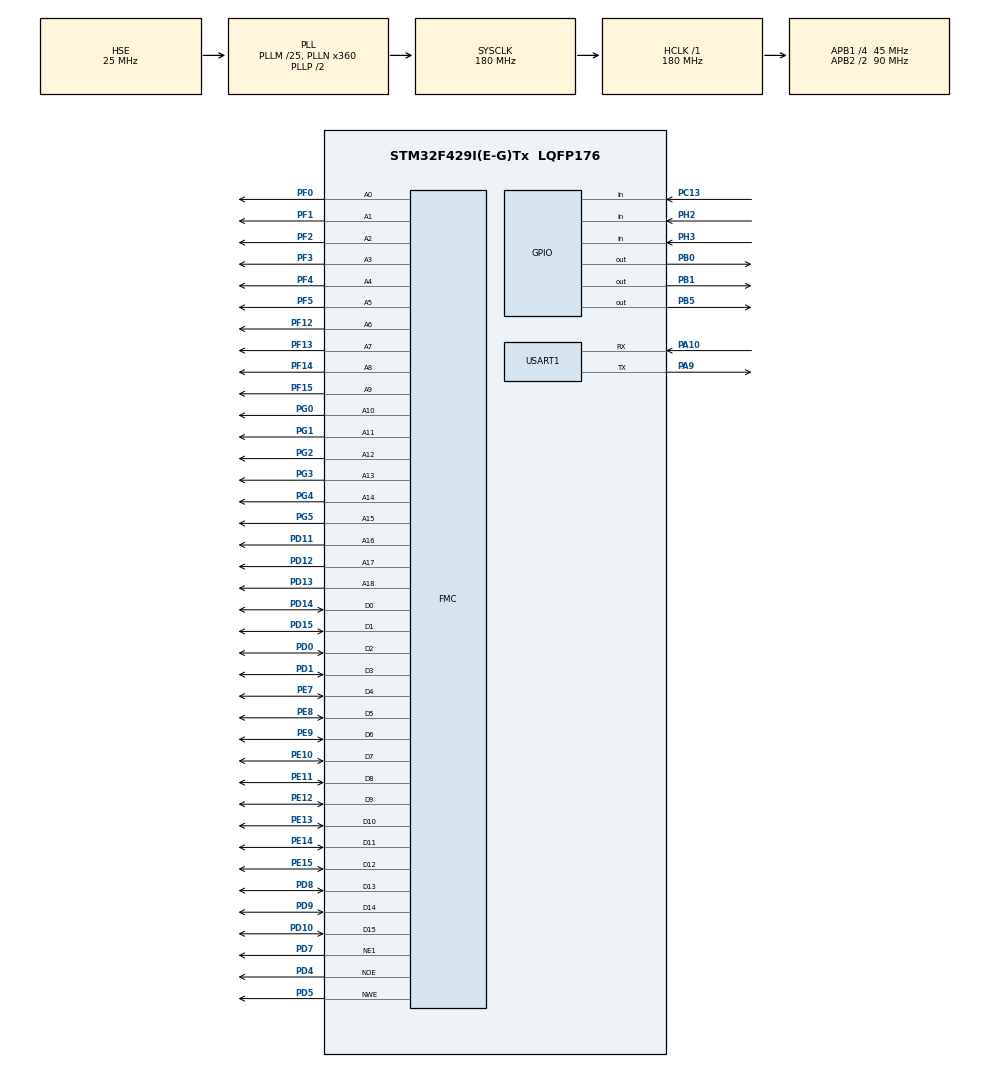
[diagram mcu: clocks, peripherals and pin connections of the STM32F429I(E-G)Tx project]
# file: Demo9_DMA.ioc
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Dma.Request0=USART1_TX
Dma.USART1_TX.0.Direction=DMA_MEMORY_TO_PERIPH
Dma.USART1_TX.0.FIFOMode=DMA_FIFOMODE_DISABLE
Dma.USART1_TX.0.Instance=DMA2_Stream7
Dma.USART1_TX.0.MemDataAlignment=DMA_MDATAALIGN_BYTE
Dma.USART1_TX.0.MemInc=DMA_MINC_ENABLE
Dma.USART1_TX.0.Mode=DMA_NORMAL
Dma.USART1_TX.0.PeriphDataAlignment=DMA_PDATAALIGN_BYTE
Dma.USART1_TX.0.PeriphInc=DMA_PINC_DISABLE
Dma.USART1_TX.0.Priority=DMA_PRIORITY_LOW
FMC.BusTurnAroundDuration1=8
FMC.DataSetupTime1=9
FMC.ExtendedAddressSetupTime1=3
FMC.ExtendedBusTurnAroundDuration1=1
FMC.ExtendedDataSetupTime1=3
FMC.ExtendedMode1=FMC_EXTENDED_MODE_ENABLE
FMC.WriteOperation1=FMC_WRITE_OPERATION_ENABLE
Mcu.Family=STM32F4
Mcu.Name=STM32F429I(E-G)Tx
Mcu.Package=LQFP176
NVIC.PriorityGroup=NVIC_PRIORITYGROUP_4
PA10.GPIO_PuPd=GPIO_PULLUP
PA10.Mode=Asynchronous
PA10.Signal=USART1_RX
PA9.GPIO_PuPd=GPIO_PULLUP
PA9.Mode=Asynchronous
PA9.Signal=USART1_TX
PB0.GPIO_Speed=GPIO_SPEED_FREQ_LOW
PB0.PinState=GPIO_PIN_SET
PB0.Signal=GPIO_Output
PB1.GPIO_Speed=GPIO_SPEED_FREQ_LOW
PB1.PinState=GPIO_PIN_SET
PB1.Signal=GPIO_Output
PB5.GPIO_Speed=GPIO_SPEED_FREQ_LOW
PB5.PinState=GPIO_PIN_SET
PB5.Signal=GPIO_Output
PC13.GPIO_PuPd=GPIO_PULLUP
PC13.Signal=GPIO_Input
PD0.Signal=FMC_D2_DA2
PD1.Signal=FMC_D3_DA3
PD10.Signal=FMC_D15_DA15
PD11.Signal=FMC_A16_CLE
PD12.Signal=FMC_A17_ALE
PD13.Signal=FMC_A18
PD14.Signal=FMC_D0_DA0
PD15.Signal=FMC_D1_DA1
PD4.Signal=FMC_NOE
PD5.Signal=FMC_NWE
PD7.Mode=NorPsramChipSelect1_1
PD7.Signal=FMC_NE1
PD8.Signal=FMC_D13_DA13
PD9.Signal=FMC_D14_DA14
PE10.Signal=FMC_D7_DA7
PE11.Signal=FMC_D8_DA8
PE12.Signal=FMC_D9_DA9
PE13.Signal=FMC_D10_DA10
PE14.Signal=FMC_D11_DA11
PE15.Signal=FMC_D12_DA12
PE7.Signal=FMC_D4_DA4
PE8.Signal=FMC_D5_DA5
PE9.Signal=FMC_D6_DA6
PF0.Signal=FMC_A0
PF1.Signal=FMC_A1
PF12.Signal=FMC_A6
PF13.Signal=FMC_A7
PF14.Signal=FMC_A8
PF15.Signal=FMC_A9
PF2.Signal=FMC_A2
PF3.Signal=FMC_A3
PF4.Signal=FMC_A4
PF5.Signal=FMC_A5
PG0.Signal=FMC_A10
PG1.Signal=FMC_A11
PG2.Signal=FMC_A12
PG3.Signal=FMC_A13
PG4.Signal=FMC_A14_BA0
PG5.Signal=FMC_A15_BA1
PH0/OSC_IN.Mode=HSE-External-Oscillator
PH0/OSC_IN.Signal=RCC_OSC_IN
PH1/OSC_OUT.Mode=HSE-External-Oscillator
PH1/OSC_OUT.Signal=RCC_OSC_OUT
PH2.GPIO_PuPd=GPIO_PULLUP
PH2.Signal=GPIO_Input
PH3.GPIO_PuPd=GPIO_PULLUP
PH3.Signal=GPIO_Input
ProjectManager.HeapSize=0x200
ProjectManager.StackSize=0x400
ProjectManager.TargetToolchain=MDK-ARM V5
RCC.48MHZClocksFreq_Value=90000000
RCC.AHBFreq_Value=180000000
RCC.APB1CLKDivider=RCC_HCLK_DIV4
RCC.APB1Freq_Value=45000000
RCC.APB1TimFreq_Value=90000000
RCC.APB2CLKDivider=RCC_HCLK_DIV2
RCC.APB2Freq_Value=90000000
RCC.APB2TimFreq_Value=180000000
RCC.CortexFreq_Value=180000000
RCC.HCLKFreq_Value=180000000
RCC.HSE_VALUE=25000000
RCC.HSI_VALUE=16000000
RCC.LSE_VALUE=32768
RCC.PLLM=25
RCC.PLLN=360
RCC.PLLSourceVirtual=RCC_PLLSOURCE_HSE
RCC.SYSCLKFreq_VALUE=180000000
RCC.SYSCLKSource=RCC_SYSCLKSOURCE_PLLCLK
RCC.VCOOutputFreq_Value=360000000
SH.FMC_A0.0=FMC_A0,19b-a1
SH.FMC_A1.0=FMC_A1,19b-a1
SH.FMC_A10.0=FMC_A10,19b-a1
SH.FMC_A11.0=FMC_A11,19b-a1
SH.FMC_A12.0=FMC_A12,19b-a1
SH.FMC_A13.0=FMC_A13,19b-a1
SH.FMC_A14_BA0.0=FMC_A14,19b-a1
SH.FMC_A15_BA1.0=FMC_A15,19b-a1
SH.FMC_A16_CLE.0=FMC_A16,19b-a1
SH.FMC_A17_ALE.0=FMC_A17,19b-a1
SH.FMC_A18.0=FMC_A18,19b-a1
SH.FMC_A2.0=FMC_A2,19b-a1
SH.FMC_A3.0=FMC_A3,19b-a1
SH.FMC_A4.0=FMC_A4,19b-a1
SH.FMC_A5.0=FMC_A5,19b-a1
SH.FMC_A6.0=FMC_A6,19b-a1
SH.FMC_A7.0=FMC_A7,19b-a1
SH.FMC_A8.0=FMC_A8,19b-a1
SH.FMC_A9.0=FMC_A9,19b-a1
SH.FMC_D0_DA0.0=FMC_D0,16b-d1
SH.FMC_D10_DA10.0=FMC_D10,16b-d1
SH.FMC_D11_DA11.0=FMC_D11,16b-d1
SH.FMC_D12_DA12.0=FMC_D12,16b-d1
SH.FMC_D13_DA13.0=FMC_D13,16b-d1
SH.FMC_D14_DA14.0=FMC_D14,16b-d1
SH.FMC_D15_DA15.0=FMC_D15,16b-d1
SH.FMC_D1_DA1.0=FMC_D1,16b-d1
SH.FMC_D2_DA2.0=FMC_D2,16b-d1
SH.FMC_D3_DA3.0=FMC_D3,16b-d1
SH.FMC_D4_DA4.0=FMC_D4,16b-d1
SH.FMC_D5_DA5.0=FMC_D5,16b-d1
SH.FMC_D6_DA6.0=FMC_D6,16b-d1
SH.FMC_D7_DA7.0=FMC_D7,16b-d1
SH.FMC_D8_DA8.0=FMC_D8,16b-d1
SH.FMC_D9_DA9.0=FMC_D9,16b-d1
SH.FMC_NOE.0=FMC_NOE,Sram1
SH.FMC_NWE.0=FMC_NWE,Sram1
USART1.VirtualMode=VM_ASYNC
board=custom

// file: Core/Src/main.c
/* USER CODE BEGIN Header */
/**
  ******************************************************************************
  * @file           : main.c
  * @brief          : Main program body
  ******************************************************************************
  * @attention
  *
  * <h2><center>&copy; Copyright (c) 2021 STMicroelectronics.
  * All rights reserved.</center></h2>
  *
  * This software component is licensed by ST under BSD 3-Clause license,
  * the "License"; You may not use this file except in compliance with the
  * License. You may obtain a copy of the License at:
  *                        opensource.org/licenses/BSD-3-Clause
  *
  ******************************************************************************
  */
/* USER CODE END Header */
#include "main.h"

/* USER CODE BEGIN Includes */

#include "sys.h"
#include "key.h"
#include "lcd.h"
#include "dma.h"

/* USER CODE END Includes */

UART_HandleTypeDef huart1;
DMA_HandleTypeDef hdma_usart1_tx;

SRAM_HandleTypeDef hsram1;

void SystemClock_Config(void);
static void MX_GPIO_Init(void);
static void MX_DMA_Init(void);
static void MX_USART1_UART_Init(void);
static void MX_FMC_Init(void);

/* USER CODE BEGIN 0 */

#define LENGTH 8000
static uint8_t testTxDma[LENGTH] = {0}; //因为数组过长，所以放置在此处

/* USER CODE END 0 */

int main(void)
{
    /* USER CODE BEGIN 1 */
    uint32_t i = 0;
    uint32_t j = 0;

    uint32_t timer = 0;
    uint32_t timerLed = 0;
    uint32_t timerKey = 0;

    uint8_t keyFalling = 0;

    const LcdCoordinate focusTips = {64, 0};
    const LcdCoordinate focusPercent = {80, 0};

    const uint8_t *temp = "hello, word!\n";

    DmaType flagDma = DMA_NONE;
    /* USER CODE END 1 */

    /* MCU Configuration--------------------------------------------------------*/

    /* Reset of all peripherals, Initializes the Flash interface and the Systick. */
    HAL_Init();

    /* Configure the system clock */
    SystemClock_Config();

    /* Initialize all configured peripherals */
    MX_GPIO_Init();
    MX_DMA_Init();
    MX_USART1_UART_Init();
    MX_FMC_Init();
    /* USER CODE BEGIN 2 */

    /* init */
    LcdInit();
    DmaLinkUsart1Tx();

    /* copy data to dma */
    for (i = 0; i < LENGTH; i++)
    {
        if (temp[j] == 0)
        {
            j = 0;
        }
        testTxDma[i] = temp[j];
        j++;
    }

    /* lcd show tips */
    LcdSetColor(LCD_RED, LCD_WHITE);
    LcdShowString("Demo9 DMA\n");
    LcdShowString("Zhen Haiyang\n");
    LcdShowString("2021/05/27\n");
    LcdShowString("--KEY0:Start--\n");
    LcdSetColor(LCD_BLUE, LCD_WHITE);

    /* USER CODE END 2 */

    /* Infinite loop */
    /* USER CODE BEGIN WHILE */
    while (1)
    {
        timer = HAL_GetTick(); //millisecond timer

        /* Key */
        keyFalling = 0;
        if (timer - timerKey > 20)
        {
            timerKey = timer;
            KeyScan();
            keyFalling = KeyGetEdgeActive();
        }

        /* usart */
        if (keyFalling & KEY_0) //key0按下
        {
            DmaStart((uint32_t)&testTxDma, LENGTH);
            flagDma = DMA_ONGOING;
        }
        if (DMA2->HISR & DMA_HISR_TCIF7) //传输完成
        {
            flagDma = DMA_FINISH;
            DMA2->HIFCR |= DMA_HIFCR_CTCIF7;
        }

        /* lcd */
        if (flagDma == DMA_FINISH)
        {
            flagDma = DMA_NONE;
            LcdSetFocus(focusTips);
            LcdShowString("Trassmit Finish!");
            LcdSetFocus(focusPercent);
            LcdShowNumber(100, 3);
            LcdShowString("%");
        }
        else if (flagDma == DMA_ONGOING)
        {
            uint16_t temp = LENGTH - DMA2_Stream7->NDTR;
            temp = temp * 100 / LENGTH;
            LcdSetFocus(focusTips);
            LcdShowString("Trassmiting...  ");
            LcdSetFocus(focusPercent);
            LcdShowNumber(temp, 3);
            LcdShowString("%");
        }

        /* LED */
        if (timer - timerLed > 500)
        {
            timerLed = timer;
            set_led_0 = !set_led_0;
        }
        if (keyFalling & KEY_1)
        {
            set_led_1 = !set_led_1;
            USART1->DR = '0';
        }

        /* USER CODE END WHILE */

    }
}

void SystemClock_Config(void)
{
    RCC_OscInitTypeDef RCC_OscInitStruct = {0};
    RCC_ClkInitTypeDef RCC_ClkInitStruct = {0};

    /** Configure the main internal regulator output voltage
  */
    __HAL_RCC_PWR_CLK_ENABLE();
    __HAL_PWR_VOLTAGESCALING_CONFIG(PWR_REGULATOR_VOLTAGE_SCALE1);
    /** Initializes the RCC Oscillators according to the specified parameters
  * in the RCC_OscInitTypeDef structure.
  */
    RCC_OscInitStruct.OscillatorType = RCC_OSCILLATORTYPE_HSE;
    RCC_OscInitStruct.HSEState = RCC_HSE_ON;
    RCC_OscInitStruct.PLL.PLLState = RCC_PLL_ON;
    RCC_OscInitStruct.PLL.PLLSource = RCC_PLLSOURCE_HSE;
    RCC_OscInitStruct.PLL.PLLM = 25;
    RCC_OscInitStruct.PLL.PLLN = 360;
    RCC_OscInitStruct.PLL.PLLP = RCC_PLLP_DIV2;
    RCC_OscInitStruct.PLL.PLLQ = 4;
    if (HAL_RCC_OscConfig(&RCC_OscInitStruct) != HAL_OK)
    {
        Error_Handler();
    }
    /** Activate the Over-Drive mode
  */
    if (HAL_PWREx_EnableOverDrive() != HAL_OK)
    {
        Error_Handler();
    }
    /** Initializes the CPU, AHB and APB buses clocks
  */
    RCC_ClkInitStruct.ClockType = RCC_CLOCKTYPE_HCLK | RCC_CLOCKTYPE_SYSCLK | RCC_CLOCKTYPE_PCLK1 | RCC_CLOCKTYPE_PCLK2;
    RCC_ClkInitStruct.SYSCLKSource = RCC_SYSCLKSOURCE_PLLCLK;
    RCC_ClkInitStruct.AHBCLKDivider = RCC_SYSCLK_DIV1;
    RCC_ClkInitStruct.APB1CLKDivider = RCC_HCLK_DIV4;
    RCC_ClkInitStruct.APB2CLKDivider = RCC_HCLK_DIV2;

    if (HAL_RCC_ClockConfig(&RCC_ClkInitStruct, FLASH_LATENCY_5) != HAL_OK)
    {
        Error_Handler();
    }
}

static void MX_USART1_UART_Init(void)
{

    huart1.Instance = USART1;
    huart1.Init.BaudRate = 115200;
    huart1.Init.WordLength = UART_WORDLENGTH_8B;
    huart1.Init.StopBits = UART_STOPBITS_1;
    huart1.Init.Parity = UART_PARITY_NONE;
    huart1.Init.Mode = UART_MODE_TX_RX;
    huart1.Init.HwFlowCtl = UART_HWCONTROL_NONE;
    huart1.Init.OverSampling = UART_OVERSAMPLING_16;
    if (HAL_UART_Init(&huart1) != HAL_OK)
    {
        Error_Handler();
    }
}

static void MX_DMA_Init(void)
{

    /* DMA controller clock enable */
    __HAL_RCC_DMA2_CLK_ENABLE();
}

/* FMC initialization function */
static void MX_FMC_Init(void)
{

    FMC_NORSRAM_TimingTypeDef Timing = {0};
    FMC_NORSRAM_TimingTypeDef ExtTiming = {0};

    /** Perform the SRAM1 memory initialization sequence
  */
    hsram1.Instance = FMC_NORSRAM_DEVICE;
    hsram1.Extended = FMC_NORSRAM_EXTENDED_DEVICE;
    /* hsram1.Init */
    hsram1.Init.NSBank = FMC_NORSRAM_BANK1;
    hsram1.Init.DataAddressMux = FMC_DATA_ADDRESS_MUX_DISABLE;
    hsram1.Init.MemoryType = FMC_MEMORY_TYPE_SRAM;
    hsram1.Init.MemoryDataWidth = FMC_NORSRAM_MEM_BUS_WIDTH_16;
    hsram1.Init.BurstAccessMode = FMC_BURST_ACCESS_MODE_DISABLE;
    hsram1.Init.WaitSignalPolarity = FMC_WAIT_SIGNAL_POLARITY_LOW;
    hsram1.Init.WrapMode = FMC_WRAP_MODE_DISABLE;
    hsram1.Init.WaitSignalActive = FMC_WAIT_TIMING_BEFORE_WS;
    hsram1.Init.WriteOperation = FMC_WRITE_OPERATION_ENABLE;
    hsram1.Init.WaitSignal = FMC_WAIT_SIGNAL_DISABLE;
    hsram1.Init.ExtendedMode = FMC_EXTENDED_MODE_ENABLE;
    hsram1.Init.AsynchronousWait = FMC_ASYNCHRONOUS_WAIT_DISABLE;
    hsram1.Init.WriteBurst = FMC_WRITE_BURST_DISABLE;
    hsram1.Init.ContinuousClock = FMC_CONTINUOUS_CLOCK_SYNC_ONLY;
    hsram1.Init.PageSize = FMC_PAGE_SIZE_NONE;
    /* Timing */
    Timing.AddressSetupTime = 15;
    Timing.AddressHoldTime = 15;
    Timing.DataSetupTime = 9;
    Timing.BusTurnAroundDuration = 8;
    Timing.CLKDivision = 16;
    Timing.DataLatency = 17;
    Timing.AccessMode = FMC_ACCESS_MODE_A;
    /* ExtTiming */
    ExtTiming.AddressSetupTime = 3;
    ExtTiming.AddressHoldTime = 15;
    ExtTiming.DataSetupTime = 3;
    ExtTiming.BusTurnAroundDuration = 1;
    ExtTiming.CLKDivision = 16;
    ExtTiming.DataLatency = 17;
    ExtTiming.AccessMode = FMC_ACCESS_MODE_A;

    if (HAL_SRAM_Init(&hsram1, &Timing, &ExtTiming) != HAL_OK)
    {
        Error_Handler();
    }

}

static void MX_GPIO_Init(void)
{
    GPIO_InitTypeDef GPIO_InitStruct = {0};

    /* GPIO Ports Clock Enable */
    __HAL_RCC_GPIOC_CLK_ENABLE();
    __HAL_RCC_GPIOF_CLK_ENABLE();
    __HAL_RCC_GPIOH_CLK_ENABLE();
    __HAL_RCC_GPIOB_CLK_ENABLE();
    __HAL_RCC_GPIOG_CLK_ENABLE();
    __HAL_RCC_GPIOE_CLK_ENABLE();
    __HAL_RCC_GPIOD_CLK_ENABLE();
    __HAL_RCC_GPIOA_CLK_ENABLE();

    /*Configure GPIO pin Output Level */
    HAL_GPIO_WritePin(GPIOB, GPIO_PIN_0 | GPIO_PIN_1 | GPIO_PIN_5, GPIO_PIN_SET);

    /*Configure GPIO pin : PC13 */
    GPIO_InitStruct.Pin = GPIO_PIN_13;
    GPIO_InitStruct.Mode = GPIO_MODE_INPUT;
    GPIO_InitStruct.Pull = GPIO_PULLUP;
    HAL_GPIO_Init(GPIOC, &GPIO_InitStruct);

    /*Configure GPIO pins : PH2 PH3 */
    GPIO_InitStruct.Pin = GPIO_PIN_2 | GPIO_PIN_3;
    GPIO_InitStruct.Mode = GPIO_MODE_INPUT;
    GPIO_InitStruct.Pull = GPIO_PULLUP;
    HAL_GPIO_Init(GPIOH, &GPIO_InitStruct);

    /*Configure GPIO pins : PB0 PB1 PB5 */
    GPIO_InitStruct.Pin = GPIO_PIN_0 | GPIO_PIN_1 | GPIO_PIN_5;
    GPIO_InitStruct.Mode = GPIO_MODE_OUTPUT_PP;
    GPIO_InitStruct.Pull = GPIO_NOPULL;
    GPIO_InitStruct.Speed = GPIO_SPEED_FREQ_LOW;
    HAL_GPIO_Init(GPIOB, &GPIO_InitStruct);
}

void Error_Handler(void)
{
    __disable_irq();
    while (1)
    {
    }
}

/************************ (C) COPYRIGHT STMicroelectronics *****END OF FILE****/
